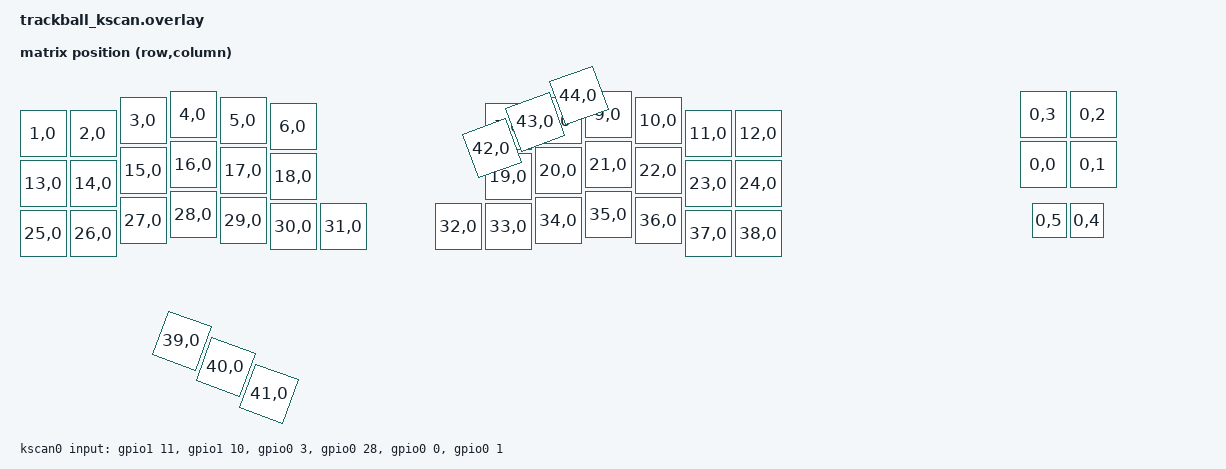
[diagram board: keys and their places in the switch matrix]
#include <dt-bindings/zmk/matrix_transform.h>
#include <physical_layouts.dtsi>

/ {
    chosen {
        zmk,kscan = &kscan0;
        zmk,physical-layout = &physical_layout;
        zmk,battery = &vbatt;
    };

    // Position = index of the matching RC(row,col) entry within this map
    // (confirmed by ZMK docs: https://zmk.dev/docs/hardware-integration/new-shield).
    // Our real buttons always report row=0, col=0..5 (kscan-gpio-direct).
    // We pad the map with 44 dummy entries using row values 1..44 (which our
    // kscan can never generate) so the 6 real RC(0,x) entries land at
    // indices 44-49, matching the keyboard's own 0-43 range and avoiding
    // any collision.
    default_transform: keymap_transform_0 {
        compatible = "zmk,matrix-transform";
        columns = <6>;
        rows = <45>;
        map = <
        RC(1,0)  RC(2,0)  RC(3,0)  RC(4,0)  RC(5,0)  RC(6,0)  RC(7,0)  RC(8,0)  RC(9,0)  RC(10,0) RC(11,0) RC(12,0)
        RC(13,0) RC(14,0) RC(15,0) RC(16,0) RC(17,0) RC(18,0) RC(19,0) RC(20,0) RC(21,0) RC(22,0) RC(23,0) RC(24,0)
        RC(25,0) RC(26,0) RC(27,0) RC(28,0) RC(29,0) RC(30,0) RC(31,0) RC(32,0) RC(33,0) RC(34,0) RC(35,0) RC(36,0)
        RC(37,0) RC(38,0) RC(39,0) RC(40,0) RC(41,0) RC(42,0) RC(43,0) RC(44,0)

        RC(0,3) RC(0,2)
        RC(0,0) RC(0,1)
        RC(0,5) RC(0,4)
        >;
    };

    kscan0: kscan {
        compatible = "zmk,kscan-gpio-direct";
        wakeup-source;
        input-gpios
            = <&gpio1 11 (GPIO_ACTIVE_LOW | GPIO_PULL_UP)>
            , <&gpio1 10 (GPIO_ACTIVE_LOW | GPIO_PULL_UP)>
            , <&gpio0  3 (GPIO_ACTIVE_LOW | GPIO_PULL_UP)>
            , <&gpio0 28 (GPIO_ACTIVE_LOW | GPIO_PULL_UP)>
            , <&gpio0  0 (GPIO_ACTIVE_LOW | GPIO_PULL_UP)>
            , <&gpio0  1 (GPIO_ACTIVE_LOW | GPIO_PULL_UP)>
            ;
    };

    vbatt: vbatt {
        status = "okay";
        compatible = "zmk,battery-voltage-divider";
        io-channels = <&adc 7>;
        output-ohms = <1564000>;
        full-ohms = <(806000 + 1564000)>;
    };

    physical_layout: physical_layout {
        compatible = "zmk,physical-layout";
        display-name = "Imperial44 + Trackball";

        kscan = <&kscan0>;
        transform = <&default_transform>;

        keys  //                     w   h    x    y     rot    rx    ry
            = <&key_physical_attrs 100 100    0   38       0     0     0>
            , <&key_physical_attrs 100 100  100   38       0     0     0>
            , <&key_physical_attrs 100 100  200   12       0     0     0>
            , <&key_physical_attrs 100 100  300    0       0     0     0>
            , <&key_physical_attrs 100 100  400   12       0     0     0>
            , <&key_physical_attrs 100 100  500   25       0     0     0>
            , <&key_physical_attrs 100 100  930   25       0     0     0>
            , <&key_physical_attrs 100 100 1030   12       0     0     0>
            , <&key_physical_attrs 100 100 1130    0       0     0     0>
            , <&key_physical_attrs 100 100 1230   12       0     0     0>
            , <&key_physical_attrs 100 100 1330   38       0     0     0>
            , <&key_physical_attrs 100 100 1430   38       0     0     0>
            , <&key_physical_attrs 100 100    0  138       0     0     0>
            , <&key_physical_attrs 100 100  100  138       0     0     0>
            , <&key_physical_attrs 100 100  200  112       0     0     0>
            , <&key_physical_attrs 100 100  300  100       0     0     0>
            , <&key_physical_attrs 100 100  400  112       0     0     0>
            , <&key_physical_attrs 100 100  500  125       0     0     0>
            , <&key_physical_attrs 100 100  930  125       0     0     0>
            , <&key_physical_attrs 100 100 1030  112       0     0     0>
            , <&key_physical_attrs 100 100 1130  100       0     0     0>
            , <&key_physical_attrs 100 100 1230  112       0     0     0>
            , <&key_physical_attrs 100 100 1330  138       0     0     0>
            , <&key_physical_attrs 100 100 1430  138       0     0     0>
            , <&key_physical_attrs 100 100    0  238       0     0     0>
            , <&key_physical_attrs 100 100  100  238       0     0     0>
            , <&key_physical_attrs 100 100  200  212       0     0     0>
            , <&key_physical_attrs 100 100  300  200       0     0     0>
            , <&key_physical_attrs 100 100  400  212       0     0     0>
            , <&key_physical_attrs 100 100  500  225       0     0     0>
            , <&key_physical_attrs 100 100  600  225       0     0     0>
            , <&key_physical_attrs 100 100  830  225       0     0     0>
            , <&key_physical_attrs 100 100  930  225       0     0     0>
            , <&key_physical_attrs 100 100 1030  212       0     0     0>
            , <&key_physical_attrs 100 100 1130  200       0     0     0>
            , <&key_physical_attrs 100 100 1230  212       0     0     0>
            , <&key_physical_attrs 100 100 1330  238       0     0     0>
            , <&key_physical_attrs 100 100 1430  238       0     0     0>
            , <&key_physical_attrs 100 100  430  310    2000     0     0>
            , <&key_physical_attrs 100 100  530  330    2000     0     0>
            , <&key_physical_attrs 100 100  630  350    2000     0     0>
            , <&key_physical_attrs 100 100  800  385 (-2000)     0     0>
            , <&key_physical_attrs 100 100  900  365 (-2000)     0     0>
            , <&key_physical_attrs 100 100 1000  345 (-2000)     0     0>

            , <&key_physical_attrs 100 100 2000    0       0     0     0>
            , <&key_physical_attrs 100 100 2100    0       0     0     0>
            , <&key_physical_attrs 100 100 2000  100       0     0     0>
            , <&key_physical_attrs 100 100 2100  100       0     0     0>
            , <&key_physical_attrs  75  75 2025  225       0     0     0>
            , <&key_physical_attrs  75  75 2100  225       0     0     0>
            ;
    };
};
